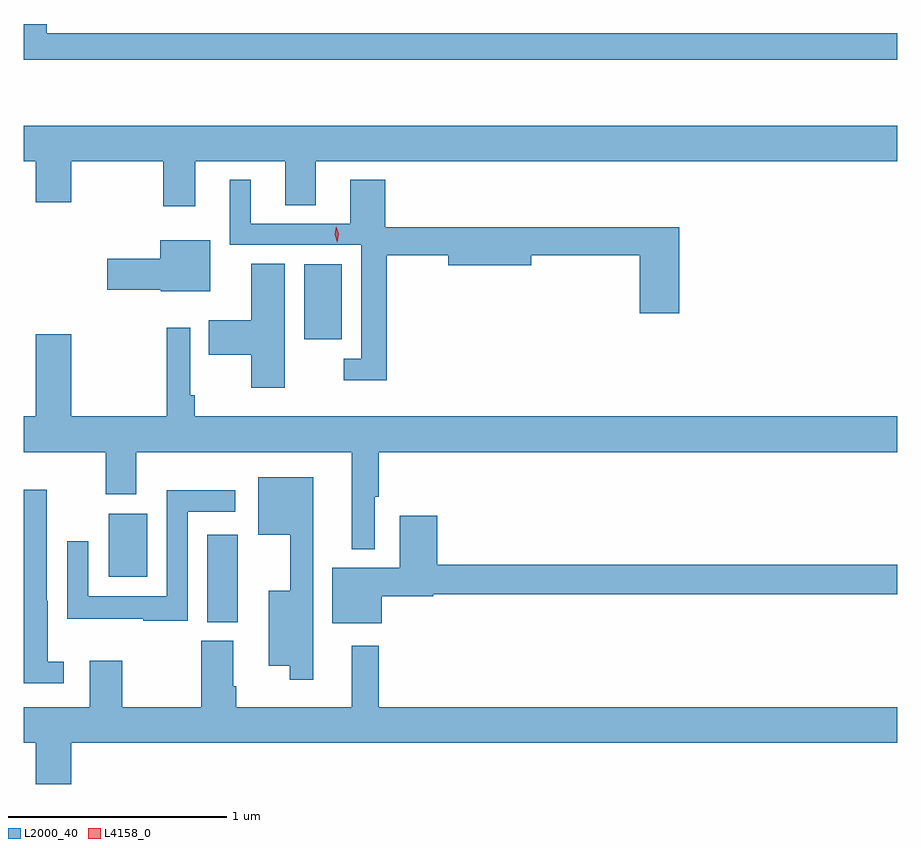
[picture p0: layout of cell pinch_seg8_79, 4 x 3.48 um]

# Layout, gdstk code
import gdstk
lib = gdstk.Library(unit=1e-6, precision=1e-09)
def R(c, l, rs):  # rectangles x0, y0, x1, y1
    for r in rs: c.add(gdstk.rectangle(r[:2], r[2:], *l))
def P(c, l, *ps):  # polygons
    for p in ps: c.add(gdstk.Polygon(p, *l))
L2000_40 = (2000, 40)
L4158_0 = (4158, 0)

pinch_seg8_79 = lib.new_cell('pinch_seg8_79')
R(pinch_seg8_79, L2000_40, [(1004.954,1099.738,1005.094,1100.137), (1004.504,1099.946,1004.68,1100.233), (1005.398,1101.032,1005.571,1101.376)])
P(pinch_seg8_79, L2000_40, [(1008.114,1102.435),(1004.218,1102.435),(1004.218,1102.477),(1004.114,1102.477),(1004.114,1102.314),(1008.114,1102.314)],
  [(1004.899,1101.848),(1005.311,1101.848),(1005.311,1101.646),(1005.451,1101.646),(1005.451,1101.848),(1008.114,1101.848),(1008.114,1102.012),(1004.114,1102.012),(1004.114,1101.848),(1004.168,1101.848),(1004.168,1101.66),(1004.332,1101.66),(1004.332,1101.848),(1004.752,1101.848),(1004.752,1101.642),(1004.899,1101.642)],
  [(1005.776,1101.418),(1006.058,1101.418),(1006.058,1101.371),(1006.438,1101.371),(1006.438,1101.418),(1006.934,1101.418),(1006.934,1101.153),(1007.117,1101.153),(1007.117,1101.547),(1005.77,1101.547),(1005.77,1101.763),(1005.608,1101.763),(1005.608,1101.561),(1005.154,1101.561),(1005.154,1101.763),(1005.056,1101.763),(1005.056,1101.465),(1005.66,1101.465),(1005.66,1100.943),(1005.579,1100.943),(1005.579,1100.846),(1005.776,1100.846)],
  [(1004.968,1101.487),(1004.738,1101.487),(1004.738,1101.402),(1004.496,1101.402),(1004.496,1101.26),(1004.742,1101.26),(1004.742,1101.254),(1004.968,1101.254)],
  [(1005.31,1101.38),(1005.155,1101.38),(1005.155,1101.121),(1004.962,1101.121),(1004.962,1100.963),(1005.155,1100.963),(1005.155,1100.811),(1005.31,1100.811)],
  [(1005.721,1100.311),(1005.739,1100.311),(1005.739,1100.516),(1008.114,1100.516),(1008.114,1100.68),(1004.897,1100.68),(1004.897,1100.776),(1004.877,1100.776),(1004.877,1101.085),(1004.769,1101.085),(1004.769,1100.68),(1004.332,1100.68),(1004.332,1101.055),(1004.168,1101.055),(1004.168,1100.68),(1004.114,1100.68),(1004.114,1100.516),(1004.489,1100.516),(1004.489,1100.322),(1004.629,1100.322),(1004.629,1100.516),(1005.617,1100.516),(1005.617,1100.072),(1005.721,1100.072)],
  [(1005.439,1100.401),(1005.188,1100.401),(1005.188,1100.138),(1005.335,1100.138),(1005.335,1099.882),(1005.236,1099.882),(1005.236,1099.538),(1005.333,1099.538),(1005.333,1099.473),(1005.439,1099.473)],
  [(1004.296,1099.556),(1004.224,1099.556),(1004.224,1099.836),(1004.218,1099.836),(1004.218,1100.344),(1004.114,1100.344),(1004.114,1099.458),(1004.296,1099.458)],
  [(1004.865,1100.244),(1005.082,1100.244),(1005.082,1100.341),(1004.769,1100.341),(1004.769,1099.855),(1004.409,1099.855),(1004.409,1100.107),(1004.313,1100.107),(1004.313,1099.754),(1004.662,1099.754),(1004.662,1099.744),(1004.865,1099.744)],
  [(1005.754,1099.856),(1005.99,1099.856),(1005.99,1099.864),(1008.114,1099.864),(1008.114,1100),(1006.007,1100),(1006.007,1100.224),(1005.836,1100.224),(1005.836,1099.987),(1005.527,1099.987),(1005.527,1099.733),(1005.754,1099.733)],
  [(1004.332,1099.184),(1008.114,1099.184),(1008.114,1099.348),(1005.739,1099.348),(1005.739,1099.63),(1005.617,1099.63),(1005.617,1099.348),(1005.086,1099.348),(1005.086,1099.444),(1005.073,1099.444),(1005.073,1099.653),(1004.926,1099.653),(1004.926,1099.348),(1004.565,1099.348),(1004.565,1099.561),(1004.417,1099.561),(1004.417,1099.348),(1004.114,1099.348),(1004.114,1099.184),(1004.168,1099.184),(1004.168,1098.996),(1004.332,1098.996)])
P(pinch_seg8_79, L4158_0, [(1005.549,1101.477),(1005.537,1101.513),(1005.545,1101.549),(1005.545,1101.549),(1005.546,1101.549),(1005.557,1101.514),(1005.55,1101.477),(1005.55,1101.477)])

lib.write_gds('pinch_seg8_79.gds')
